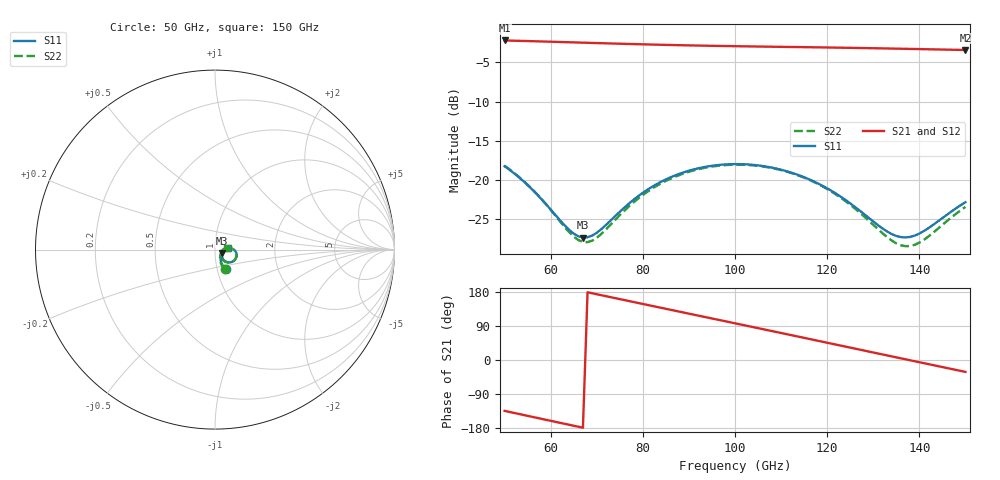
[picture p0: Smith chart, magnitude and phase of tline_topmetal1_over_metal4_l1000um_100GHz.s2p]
#  GHZ S DB R 50
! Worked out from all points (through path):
!   101 points, 50 GHz to 150 GHz, reference 50 ohm
!   highest |S21| = -2.21 dB at 50 GHz (marker M1); lowest = -3.4 dB at 150 GHz (marker M2)
!   group delay of S21, straight-line fit = 7.13 ps
!   lowest |S11| = -27.3 dB at 67 GHz (marker M3), VSWR 1.09, Z = 53.8 - j2.31 ohm
!   |S11| at or under -10 dB: start of sweep to end of sweep
!   |S22| runs from -28.4 to -18.1 dB; largest |S21 - S12| = 8.7e-14
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50  -18.25 -60.6  -2.21 -134.3  -2.21 -134.3  -18.19 -62.1
55  -20.65 -64.2  -2.29 -147.4  -2.29 -147.4  -20.61 -66.3
59  -23.09 -62.5  -2.35 -157.9  -2.35 -157.9  -23.11 -65.4
64  -26.36 -47.7  -2.44 -170.9  -2.44 -170.9  -26.65 -51.5
67  -27.34 -29.9  -2.49 -178.7  -2.49 -178.7  -27.90 -32.9
70  -26.74 -12.1  -2.54 173.6  -2.54 173.6  -27.37 -13.1
75  -24.05 3.2  -2.62 160.7  -2.62 160.7  -24.49 3.8
79  -22.06 5.3  -2.69 150.4  -2.69 150.4  -22.36 6.1
84  -20.22 2.3  -2.76 137.6  -2.76 137.6  -20.42 2.9
92  -18.52 -8.0  -2.86 117.2  -2.86 117.2  -18.64 -7.7
100  -17.97 -20.5  -2.94 96.8  -2.94 96.8  -18.05 -20.7
104  -18.08 -27.0  -2.97 86.6  -2.97 86.6  -18.14 -27.4
108  -18.42 -33.2  -3.01 76.4  -3.01 76.4  -18.48 -33.9
112  -19.02 -39.1  -3.04 66.1  -3.04 66.1  -19.08 -40.1
117  -20.16 -45.4  -3.08 53.3  -3.08 53.3  -20.22 -47.0
122  -21.77 -49.5  -3.12 40.4  -3.12 40.4  -21.88 -51.8
126  -23.42 -49.8  -3.16 30.1  -3.16 30.1  -23.63 -52.9
134  -26.89 -33.6  -3.24 9.6  -3.24 9.6  -27.72 -37.6
137  -27.33 -21.0  -3.28 1.9  -3.28 1.9  -28.44 -23.1
139  -27.09 -12.5  -3.30 -3.3  -3.30 -3.3  -28.27 -12.8
144  -25.30 1.9  -3.36 -16.1  -3.36 -16.1  -26.23 4.6
150  -22.83 5.7  -3.43 -31.4  -3.43 -31.4  -23.44 9.3
